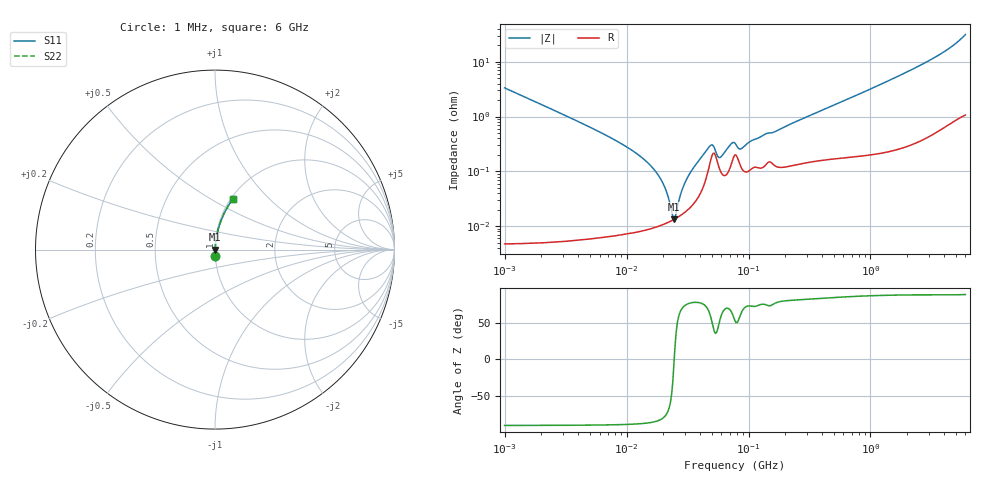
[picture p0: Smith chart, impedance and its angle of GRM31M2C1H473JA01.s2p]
!Murata Part Number: GRM31M2C1H473JA01
!These Parameters are Measured in Series Mode Connection
!Data Generated on Mar 30, 2021
!  o--ll--o
!Port1  Port2
!  o------o
!Operation Temp=25[degC], DC Bias Voltage=0[V]
!Freq. Start=1000[kHz] Stop=6[GHz] 401[Steps]
# Hz S RI R 50
!Freq.(Hz) S11(Real) S11(Imag) S21(Real) S21(Imag) S12(Real) S12(Imag) S22(Real) S22(Imag)
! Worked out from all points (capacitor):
!   401 points, 1 MHz to 6 GHz, reference 50 ohm
!   read as one part in series: C = 47.6 nF near 1.044 MHz
!   lowest |Z| = 13.3 mohm at 24.46 MHz (marker M1)
!   series resonance near 24.59 MHz, so ESL is about 880 pH
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1000000  0.00116 -0.0334  0.9988 0.0334  0.9988 0.0334  0.00116 -0.0334
4293785  0.000113 -0.00755  0.9999 0.00755  0.9999 0.00755  0.000113 -0.00755
1.142569e7  8.1e-05 -0.00231  0.9999 0.00231  0.9999 0.00231  8.1e-05 -0.00231
1.515906e7  8.93e-05 -0.00138  0.9999 0.00138  0.9999 0.00138  8.93e-05 -0.00138
1.843659e7  0.000101 -0.00081  0.9999 0.00081  0.9999 0.00081  0.000101 -0.00081
2.100646e7  0.000112 -0.000442  0.9999 0.000442  0.9999 0.000442  0.000112 -0.000442
2.341962e7  0.000126 -0.000137  0.9999 0.000137  0.9999 0.000137  0.000126 -0.000137
2.44608e7  0.000132 -1.47e-05  0.9999 1.47e-05  0.9999 1.47e-05  0.000132 -1.47e-05
2.554826e7  0.00014 0.000109  0.9999 -0.000109  0.9999 -0.000109  0.00014 0.000109
2.787038e7  0.000158 0.000362  0.9998 -0.000362  0.9998 -0.000362  0.000158 0.000362
3.107204e7  0.000191 0.000693  0.9998 -0.000693  0.9998 -0.000693  0.000191 0.000693
4.697123e7  0.00109 0.00247  0.9989 -0.00247  0.9989 -0.00247  0.00109 0.00247
5.124051e7  0.00213 0.00204  0.9979 -0.00204  0.9979 -0.00204  0.00213 0.00204
5.838291e7  0.00105 0.00145  0.9989 -0.00145  0.9989 -0.00145  0.00105 0.00145
7.256705e7  0.00141 0.0029  0.9986 -0.0029  0.9986 -0.0029  0.00141 0.0029
7.745967e7  0.002 0.00258  0.998 -0.00258  0.998 -0.00258  0.002 0.00258
8.825674e7  0.00112 0.00239  0.9989 -0.00239  0.9989 -0.00239  0.00112 0.00239
1.073387e8  0.00115 0.00351  0.9989 -0.00351  0.9989 -0.00351  0.00115 0.00351
3.325952e8  0.00161 0.0107  0.9984 -0.0107  0.9984 -0.0107  0.00161 0.0107
1.428092e9  0.00437 0.0455  0.9956 -0.0455  0.9956 -0.0455  0.00437 0.0455
3.5601e9  0.0214 0.1257  0.9786 -0.1257  0.9786 -0.1257  0.0214 0.1257
6e9  0.0981 0.281  0.9019 -0.281  0.9019 -0.281  0.0981 0.281
